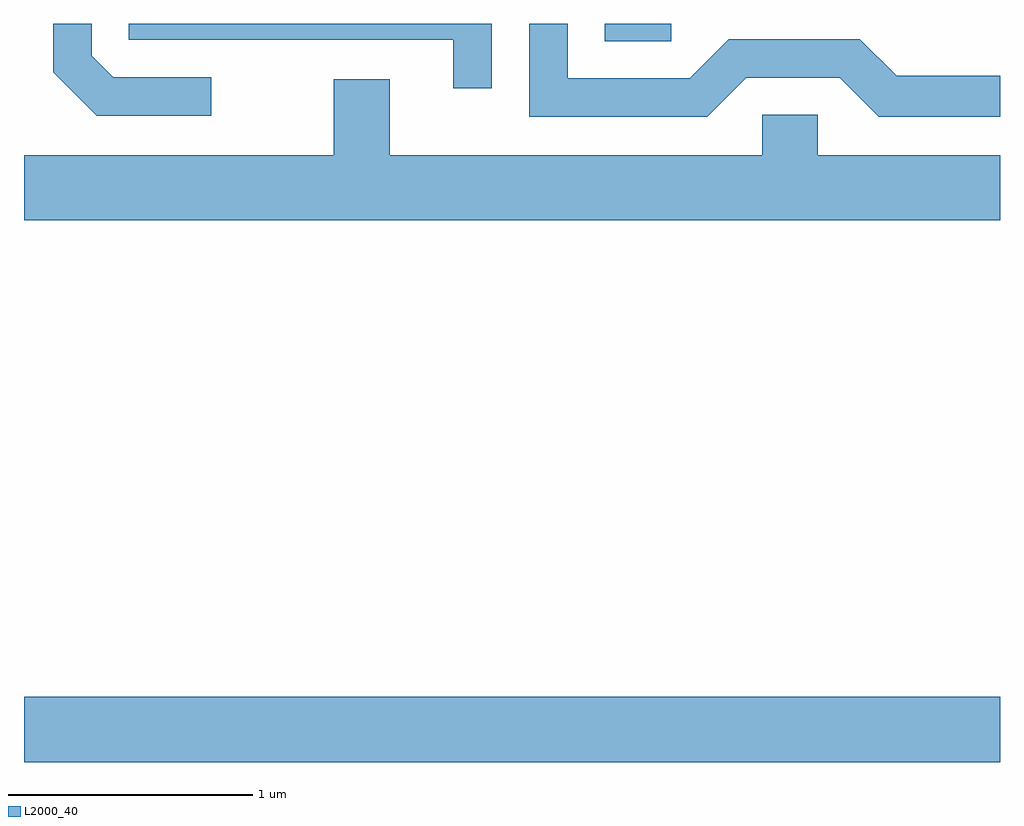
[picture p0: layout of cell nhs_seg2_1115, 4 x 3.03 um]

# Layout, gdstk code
import gdstk
lib = gdstk.Library(unit=1e-6, precision=1e-09)
def R(c, l, rs):  # rectangles x0, y0, x1, y1
    for r in rs: c.add(gdstk.rectangle(r[:2], r[2:], *l))
def P(c, l, *ps):  # polygons
    for p in ps: c.add(gdstk.Polygon(p, *l))
L2000_40 = (2000, 40)

nhs_seg2_1115 = lib.new_cell('nhs_seg2_1115')
R(nhs_seg2_1115, L2000_40, [(217.611,1032.776,221.611,1033.044), (219.991,1035.731,220.263,1035.802)])
P(nhs_seg2_1115, L2000_40, [(219.529,1035.802),(218.041,1035.802),(218.041,1035.736),(219.371,1035.736),(219.371,1035.537),(219.529,1035.537)],
  [(220.572,1035.581),(220.954,1035.581),(221.114,1035.421),(221.611,1035.421),(221.611,1035.589),(221.187,1035.589),(221.037,1035.739),(220.499,1035.739),(220.339,1035.579),(219.839,1035.579),(219.839,1035.802),(219.681,1035.802),(219.681,1035.421),(220.412,1035.421)],
  [(218.378,1035.584),(217.977,1035.584),(217.889,1035.671),(217.889,1035.802),(217.731,1035.802),(217.731,1035.603),(217.909,1035.426),(218.378,1035.426)],
  [(221.611,1035.264),(220.864,1035.264),(220.864,1035.429),(220.636,1035.429),(220.636,1035.264),(219.109,1035.264),(219.109,1035.574),(218.881,1035.574),(218.881,1035.264),(217.611,1035.264),(217.611,1034.996),(221.611,1034.996)])

lib.write_gds('nhs_seg2_1115.gds')
